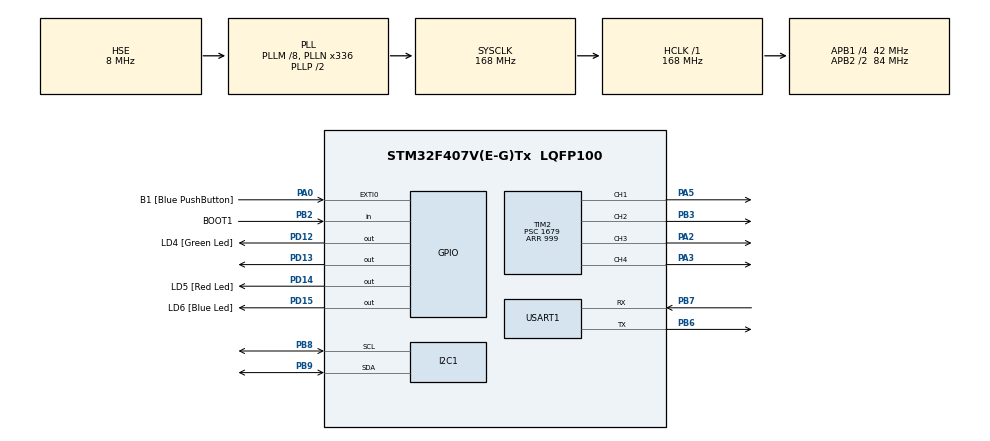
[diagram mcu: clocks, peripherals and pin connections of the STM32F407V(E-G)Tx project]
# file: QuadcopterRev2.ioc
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FREERTOS.Tasks01=mainController,32,128,mainControllerLoop,Default,NULL,Dynamic,NULL,NULL;telemetrySender,8,128,telemetrySenderTask,Default,NULL,Dynamic,NULL,NULL;bmp280Reader,24,128,bmp280ReaderTask,Default,NULL,Dynamic,NULL,NULL;mpu6050Reader,24,128,mpu6050ReaderTask,Default,NULL,Dynamic,NULL,NULL;hmc5883lReader,24,128,hmc5883lReaderTask,Default,NULL,Dynamic,NULL,NULL
FREERTOS.configENABLE_FPU=1
I2C1.I2C_Mode=I2C_Fast
Mcu.Family=STM32F4
Mcu.Name=STM32F407V(E-G)Tx
Mcu.Package=LQFP100
NVIC.I2C1_EV_IRQn=true\:5\:0\:false\:false\:true\:true\:true\:true
NVIC.PriorityGroup=NVIC_PRIORITYGROUP_4
NVIC.TIM1_UP_TIM10_IRQn=true\:0\:0\:false\:false\:true\:false\:false\:true
NVIC.TimeBase=TIM1_UP_TIM10_IRQn
NVIC.TimeBaseIP=TIM1
NVIC.USART1_IRQn=true\:5\:0\:false\:false\:true\:true\:true\:true
PA0-WKUP.GPIO_Label=B1 [Blue PushButton]
PA0-WKUP.GPIO_ModeDefaultEXTI=GPIO_MODE_EVT_RISING
PA0-WKUP.GPIO_PuPd=GPIO_NOPULL
PA0-WKUP.Signal=GPXTI0
PA13.GPIO_Label=SWDIO
PA13.Mode=Serial_Wire
PA13.Signal=SYS_JTMS-SWDIO
PA14.GPIO_Label=SWCLK
PA14.Mode=Serial_Wire
PA14.Signal=SYS_JTCK-SWCLK
PA2.GPIO_Speed=GPIO_SPEED_FREQ_VERY_HIGH
PA2.Signal=S_TIM2_CH3
PA3.GPIO_Speed=GPIO_SPEED_FREQ_VERY_HIGH
PA3.Signal=S_TIM2_CH4
PA5.GPIO_Speed=GPIO_SPEED_FREQ_VERY_HIGH
PA5.Signal=S_TIM2_CH1_ETR
PB2.GPIO_Label=BOOT1
PB2.GPIO_Mode=GPIO_MODE_INPUT
PB2.GPIO_PuPd=GPIO_NOPULL
PB2.Signal=GPIO_Input
PB3.GPIO_Speed=GPIO_SPEED_FREQ_VERY_HIGH
PB3.Signal=S_TIM2_CH2
PB6.Mode=Asynchronous
PB6.Signal=USART1_TX
PB7.Mode=Asynchronous
PB7.Signal=USART1_RX
PB8.GPIO_Pu=GPIO_PULLUP
PB8.Mode=I2C
PB8.Signal=I2C1_SCL
PB9.GPIO_Pu=GPIO_PULLUP
PB9.Mode=I2C
PB9.Signal=I2C1_SDA
PC14-OSC32_IN.GPIO_Label=PC14-OSC32_IN
PC14-OSC32_IN.Mode=LSE-External-Oscillator
PC14-OSC32_IN.Signal=RCC_OSC32_IN
PC15-OSC32_OUT.GPIO_Label=PC15-OSC32_OUT
PC15-OSC32_OUT.Mode=LSE-External-Oscillator
PC15-OSC32_OUT.Signal=RCC_OSC32_OUT
PD12.GPIO_Label=LD4 [Green Led]
PD12.GPIO_PuPd=GPIO_NOPULL
PD12.GPIO_Speed=GPIO_SPEED_FREQ_LOW
PD12.Signal=GPIO_Output
PD13.Signal=GPIO_Output
PD14.GPIO_Label=LD5 [Red Led]
PD14.GPIO_PuPd=GPIO_NOPULL
PD14.GPIO_Speed=GPIO_SPEED_FREQ_LOW
PD14.Signal=GPIO_Output
PD15.GPIO_Label=LD6 [Blue Led]
PD15.GPIO_PuPd=GPIO_NOPULL
PD15.GPIO_Speed=GPIO_SPEED_FREQ_LOW
PD15.Signal=GPIO_Output
PH0-OSC_IN.GPIO_Label=PH0-OSC_IN
PH0-OSC_IN.Mode=HSE-External-Oscillator
PH0-OSC_IN.Signal=RCC_OSC_IN
PH1-OSC_OUT.GPIO_Label=PH1-OSC_OUT
PH1-OSC_OUT.Mode=HSE-External-Oscillator
PH1-OSC_OUT.Signal=RCC_OSC_OUT
ProjectManager.HeapSize=0x200
ProjectManager.StackSize=0x400
ProjectManager.TargetToolchain=STM32CubeIDE
RCC.48MHZClocksFreq_Value=48000000
RCC.AHBFreq_Value=168000000
RCC.APB1CLKDivider=RCC_HCLK_DIV4
RCC.APB1Freq_Value=42000000
RCC.APB1TimFreq_Value=84000000
RCC.APB2CLKDivider=RCC_HCLK_DIV2
RCC.APB2Freq_Value=84000000
RCC.APB2TimFreq_Value=168000000
RCC.CortexFreq_Value=168000000
RCC.HCLKFreq_Value=168000000
RCC.HSE_VALUE=8000000
RCC.HSI_VALUE=16000000
RCC.PLLM=8
RCC.PLLN=336
RCC.PLLQ=7
RCC.PLLSourceVirtual=RCC_PLLSOURCE_HSE
RCC.SYSCLKFreq_VALUE=168000000
RCC.SYSCLKSource=RCC_SYSCLKSOURCE_PLLCLK
RCC.VCOOutputFreq_Value=336000000
SH.S_TIM2_CH1_ETR.0=TIM2_CH1,PWM Generation1 CH1
SH.S_TIM2_CH2.0=TIM2_CH2,PWM Generation2 CH2
SH.S_TIM2_CH3.0=TIM2_CH3,PWM Generation3 CH3
SH.S_TIM2_CH4.0=TIM2_CH4,PWM Generation4 CH4
TIM2.Channel-PWM\ Generation1\ CH1=TIM_CHANNEL_1
TIM2.Channel-PWM\ Generation2\ CH2=TIM_CHANNEL_2
TIM2.Channel-PWM\ Generation3\ CH3=TIM_CHANNEL_3
TIM2.Channel-PWM\ Generation4\ CH4=TIM_CHANNEL_4
TIM2.Period=999
TIM2.Prescaler=1679
USART1.VirtualMode=VM_ASYNC
VP_FREERTOS_VS_CMSIS_V2.Mode=CMSIS_V2
VP_SYS_VS_tim1.Mode=TIM1
VP_TIM2_VS_ClockSourceINT.Mode=Internal
board=STM32F407G-DISC1

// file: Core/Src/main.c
/* USER CODE BEGIN Header */
/**
  ******************************************************************************
  * @file           : main.c
  * @brief          : Main program body
  ******************************************************************************
  * @attention
  *
  * <h2><center>&copy; Copyright (c) 2021 STMicroelectronics.
  * All rights reserved.</center></h2>
  *
  * This software component is licensed by ST under Ultimate Liberty license
  * SLA0044, the "License"; You may not use this file except in compliance with
  * the License. You may obtain a copy of the License at:
  *                             www.st.com/SLA0044
  *
  ******************************************************************************
  */
/* USER CODE END Header */
#include "main.h"
#include "cmsis_os.h"
#include "i2c.h"
#include "tim.h"
#include "usart.h"
#include "gpio.h"

/* USER CODE BEGIN Includes */

#include "DataStructures.h"
#include "externalVariables.h"
#include "RCFilter.h"
#include "BMP280.h"

/* USER CODE END Includes */

/* USER CODE BEGIN PV */

uint8_t Rx_data[2] = {0,0}, Rx_Buffer[100], Transfer_cplt;

bmp280_calib_data bmp280CalibData;

RCFilter accLpf[3];
RCFilter gyrLpf[3];
RCFilter magLpf[3];
RCFilter barLpf;

/* USER CODE END PV */

void SystemClock_Config(void);
void MX_FREERTOS_Init(void);

/* USER CODE BEGIN 0 */
void HAL_UART_RxCpltCallback(UART_HandleTypeDef *huart)
{

	    if (huart->Instance == USART1)  //current UART
	    {

	    	 //SetPointVector  = 0;
	  /*  	 if (Rx_indx == 0)
	    	 {
	    		 for (int i = 0; i < 100; i++)
	    		 {Rx_Buffer[i] = 0;}
	    	 }   //clear Rx_Buffer before receiving new data

	    	        if (Rx_data[0] != 13) //if received data different from ascii 13 (enter)
	    	            {
	    	            Rx_Buffer[Rx_indx++] = Rx_data[0];    //add data to Rx_Buffer
	    	            }
	    	        else            //if received data = 13
	    	            {
	    	            Rx_indx = 0;
	    	            Transfer_cplt = 1;//transfer complete, data is ready to read
	    	            }
*/

	    HAL_UART_Receive_IT(&huart1, Rx_data, 1);
	    }
}
/* USER CODE END 0 */

int main(void)
{

  /* MCU Configuration--------------------------------------------------------*/

  /* Reset of all peripherals, Initializes the Flash interface and the Systick. */
  HAL_Init();

  /* Configure the system clock */
  SystemClock_Config();

  /* USER CODE BEGIN SysInit */
  HAL_I2C_MspInit(&hi2c1);
  HAL_UART_MspInit(&huart1);
  /* USER CODE END SysInit */

  /* Initialize all configured peripherals */
  MX_GPIO_Init();
  MX_I2C1_Init();
  MX_TIM2_Init();
  MX_USART1_UART_Init();
  /* USER CODE BEGIN 2 */

  //Initializing sensors and Wi-Fi module

  MPU6050_Init(&hi2c1);
  BMP280_Init(&hi2c1, &bmp280CalibData);
  HMC5883L_Init(&hi2c1);
  Esp8266_Init(&huart1);

  //Initializing low pass filters structures for sensors

  RCFilter_Init(&(accLpf[0]), 5.0f, 0.01f);
  RCFilter_Init(&(accLpf[1]), 5.0f, 0.01f);
  RCFilter_Init(&(accLpf[2]), 5.0f, 0.01f);

  RCFilter_Init(&(gyrLpf[0]), 5.0f, 0.01f);
  RCFilter_Init(&(gyrLpf[1]), 5.0f, 0.01f);
  RCFilter_Init(&(gyrLpf[2]), 5.0f, 0.01f);

  RCFilter_Init(&(magLpf[0]), 5.0f, 0.01f);
  RCFilter_Init(&(magLpf[1]), 5.0f, 0.01f);
  RCFilter_Init(&(magLpf[2]), 5.0f, 0.01f);

  RCFilter_Init(&barLpf, 5.0f, 0.02f);

  HAL_UART_Receive_IT(&huart1, Rx_data, 1);

  /* USER CODE END 2 */

  /* Init scheduler */
  osKernelInitialize();  /* Call init function for freertos objects (in freertos.c) */
  MX_FREERTOS_Init();
  /* Start scheduler */
  osKernelStart();

  /* We should never get here as control is now taken by the scheduler */
  /* Infinite loop */
  while (1)
  {

  }
}

void SystemClock_Config(void)
{
  RCC_OscInitTypeDef RCC_OscInitStruct = {0};
  RCC_ClkInitTypeDef RCC_ClkInitStruct = {0};

  /** Configure the main internal regulator output voltage
  */
  __HAL_RCC_PWR_CLK_ENABLE();
  __HAL_PWR_VOLTAGESCALING_CONFIG(PWR_REGULATOR_VOLTAGE_SCALE1);
  /** Initializes the RCC Oscillators according to the specified parameters
  * in the RCC_OscInitTypeDef structure.
  */
  RCC_OscInitStruct.OscillatorType = RCC_OSCILLATORTYPE_HSE;
  RCC_OscInitStruct.HSEState = RCC_HSE_ON;
  RCC_OscInitStruct.PLL.PLLState = RCC_PLL_ON;
  RCC_OscInitStruct.PLL.PLLSource = RCC_PLLSOURCE_HSE;
  RCC_OscInitStruct.PLL.PLLM = 8;
  RCC_OscInitStruct.PLL.PLLN = 336;
  RCC_OscInitStruct.PLL.PLLP = RCC_PLLP_DIV2;
  RCC_OscInitStruct.PLL.PLLQ = 7;
  if (HAL_RCC_OscConfig(&RCC_OscInitStruct) != HAL_OK)
  {
    Error_Handler();
  }
  /** Initializes the CPU, AHB and APB buses clocks
  */
  RCC_ClkInitStruct.ClockType = RCC_CLOCKTYPE_HCLK|RCC_CLOCKTYPE_SYSCLK
                              |RCC_CLOCKTYPE_PCLK1|RCC_CLOCKTYPE_PCLK2;
  RCC_ClkInitStruct.SYSCLKSource = RCC_SYSCLKSOURCE_PLLCLK;
  RCC_ClkInitStruct.AHBCLKDivider = RCC_SYSCLK_DIV1;
  RCC_ClkInitStruct.APB1CLKDivider = RCC_HCLK_DIV4;
  RCC_ClkInitStruct.APB2CLKDivider = RCC_HCLK_DIV2;

  if (HAL_RCC_ClockConfig(&RCC_ClkInitStruct, FLASH_LATENCY_5) != HAL_OK)
  {
    Error_Handler();
  }
}

void HAL_TIM_PeriodElapsedCallback(TIM_HandleTypeDef *htim)
{
  if (htim->Instance == TIM1) {
    HAL_IncTick();
  }
}

void Error_Handler(void)
{
  __disable_irq();
  while (1)
  {
  }
}

/************************ (C) COPYRIGHT STMicroelectronics *****END OF FILE****/

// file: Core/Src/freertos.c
/* USER CODE BEGIN Header */
/**
  ******************************************************************************
  * File Name          : freertos.c
  * Description        : Code for freertos applications
  ******************************************************************************
  * @attention
  *
  * <h2><center>&copy; Copyright (c) 2021 STMicroelectronics.
  * All rights reserved.</center></h2>
  *
  * This software component is licensed by ST under Ultimate Liberty license
  * SLA0044, the "License"; You may not use this file except in compliance with
  * the License. You may obtain a copy of the License at:
  *                             www.st.com/SLA0044
  *
  ******************************************************************************
  */
/* USER CODE END Header */

#include "FreeRTOS.h"
#include "task.h"
#include "main.h"
#include "cmsis_os.h"

/* USER CODE BEGIN Includes */
#include "MPU6050.h"
#include "BMP280.h"
#include "HMC5883L.h"
#include "ESP8266.h"
#include "OrientationFunctions.h"
#include "Pid.h"
#include "externalVariables.h"
/* USER CODE END Includes */

/* USER CODE BEGIN Variables */

osMutexId_t i2cHandle;

const osMutexAttr_t i2cThread_Mutex_attr = {
	 "i2cThreadMutex",
	  osMutexPrioInherit,
	  NULL,
	  0U
	};

volatile struct Data mpu6050Data;
volatile Vector3AxisF hmc5883lData;
volatile float bmp280Pressure = 0;

volatile struct Data mpu6050Data_filtered;
volatile Vector3AxisF hmc5883lData_filtered;
volatile float bmp280Pressure_filtered;

volatile float altitude = 0;
float heading = 0;
Vector3AxisF quadAngles = {0.0f, 0.0f, 0.0f};

/* USER CODE END Variables */
/* Definitions for mainController */
osThreadId_t mainControllerHandle;
const osThreadAttr_t mainController_attributes = {
  .name = "mainController",
  .stack_size = 128 * 4,
  .priority = (osPriority_t) osPriorityAboveNormal,
};
/* Definitions for telemetrySender */
osThreadId_t telemetrySenderHandle;
const osThreadAttr_t telemetrySender_attributes = {
  .name = "telemetrySender",
  .stack_size = 128 * 4,
  .priority = (osPriority_t) osPriorityLow,
};
/* Definitions for bmp280Reader */
osThreadId_t bmp280ReaderHandle;
const osThreadAttr_t bmp280Reader_attributes = {
  .name = "bmp280Reader",
  .stack_size = 128 * 4,
  .priority = (osPriority_t) osPriorityNormal,
};
/* Definitions for mpu6050Reader */
osThreadId_t mpu6050ReaderHandle;
const osThreadAttr_t mpu6050Reader_attributes = {
  .name = "mpu6050Reader",
  .stack_size = 128 * 4,
  .priority = (osPriority_t) osPriorityAboveNormal	,
};
/* Definitions for hmc5883lReader */
osThreadId_t hmc5883lReaderHandle;
const osThreadAttr_t hmc5883lReader_attributes = {
  .name = "hmc5883lReader",
  .stack_size = 128 * 4,
  .priority = (osPriority_t) osPriorityNormal,
};

void mainControllerLoop(void *argument);
void telemetrySenderTask(void *argument);
void bmp280ReaderTask(void *argument);
void mpu6050ReaderTask(void *argument);
void hmc5883lReaderTask(void *argument);

void MX_FREERTOS_Init(void); /* (MISRA C 2004 rule 8.1) */

void MX_FREERTOS_Init(void) {

  /* USER CODE BEGIN RTOS_MUTEX */
  /* add mutexes, ... */

	i2cHandle = osMutexNew(&i2cThread_Mutex_attr);

  /* USER CODE END RTOS_MUTEX */

  /* Create the thread(s) */
  /* creation of mainController */
  mainControllerHandle = osThreadNew(mainControllerLoop, NULL, &mainController_attributes);

  /* creation of telemetrySender */
  telemetrySenderHandle = osThreadNew(telemetrySenderTask, NULL, &telemetrySender_attributes);

  /* creation of bmp280Reader */
  bmp280ReaderHandle = osThreadNew(bmp280ReaderTask, NULL, &bmp280Reader_attributes);

  /* creation of mpu6050Reader */
  mpu6050ReaderHandle = osThreadNew(mpu6050ReaderTask, NULL, &mpu6050Reader_attributes);

  /* creation of hmc5883lReader */
  hmc5883lReaderHandle = osThreadNew(hmc5883lReaderTask, NULL, &hmc5883lReader_attributes);

}

void mainControllerLoop(void *argument)
{
  /* USER CODE BEGIN mainControllerLoop */
  /* Infinite loop */
  for(;;)
  {

    osDelay(1000);
  }
  /* USER CODE END mainControllerLoop */
}

void telemetrySenderTask(void *argument)
{
  /* USER CODE BEGIN telemetrySenderTask */
  /* Infinite loop */
  for(;;)
  {

	  //Esp8266_SendData(huart, message)

    osDelay(1000);
  }
  /* USER CODE END telemetrySenderTask */
}

void bmp280ReaderTask(void *argument)
{
  /* USER CODE BEGIN bmp280ReaderTask */
  /* Infinite loop */
  for(;;)
  {
	  if (osMutexAcquire(i2cHandle,0) == osOK)
	  {

		 bmp280Pressure = BMP280_readPressure(&hi2c1, &bmp280CalibData);

		 	 bmp280Pressure_filtered = RCFilter_Update(&barLpf, bmp280Pressure);
		 	 altitude = Calculate_Altitude(1013.25, bmp280Pressure_filtered);

		 HAL_GPIO_TogglePin(GPIOD,GPIO_PIN_14);	//RED

		 osMutexRelease(i2cHandle);
	  }

    osDelay(20);
  }
  /* USER CODE END bmp280ReaderTask */
}

void mpu6050ReaderTask(void *argument)
{
  /* USER CODE BEGIN mpu6050ReaderTask */
  /* Infinite loop */
  for(;;)
  {
	  if (osMutexAcquire(i2cHandle,0) == osOK)
	  {

		  mpu6050Data = MPU6050_Read_Data(&hi2c1);

		  	  mpu6050Data_filtered.accelX = RCFilter_Update(&(accLpf[0]), mpu6050Data.accelX);
		  	  mpu6050Data_filtered.accelY = RCFilter_Update(&(accLpf[1]), mpu6050Data.accelY);
		  	  mpu6050Data_filtered.accelZ = RCFilter_Update(&(accLpf[2]), mpu6050Data.accelZ);
		  	  mpu6050Data_filtered.rotX = RCFilter_Update(&(gyrLpf[0]), mpu6050Data.rotX);
		  	  mpu6050Data_filtered.rotY = RCFilter_Update(&(gyrLpf[1]), mpu6050Data.rotY);
		  	  mpu6050Data_filtered.rotZ = RCFilter_Update(&(gyrLpf[2]), mpu6050Data.rotZ);

		  	  Calc_Angle(&quadAngles, mpu6050Data_filtered, Calc_Accel_Angle(mpu6050Data_filtered),heading, 0.01);

		  HAL_GPIO_TogglePin(GPIOD,GPIO_PIN_13); //ORANGE

		  osMutexRelease(i2cHandle);
	  }

    osDelay(10);
  }
  /* USER CODE END mpu6050ReaderTask */
}

void hmc5883lReaderTask(void *argument)
{
  /* USER CODE BEGIN hmc5883lReaderTask */
  /* Infinite loop */
  for(;;)
  {
	  if (osMutexAcquire(i2cHandle,0) == osOK)
	  {

		  hmc5883lData = HMC5883L_Read_Data(&hi2c1);

		  	  hmc5883lData_filtered.x = RCFilter_Update(&(magLpf[0]), hmc5883lData.x);
		  	  hmc5883lData_filtered.y = RCFilter_Update(&(magLpf[1]), hmc5883lData.y);
		  	  hmc5883lData_filtered.z = RCFilter_Update(&(magLpf[2]), hmc5883lData.z);

		  	  heading = Calculate_Heading(hmc5883lData_filtered, quadAngles, MAGNETIC_DECLINATION);

		  	  HAL_GPIO_TogglePin(GPIOD,GPIO_PIN_15);	// BLUE

		  osMutexRelease(i2cHandle);
	  }

	  	  osDelay(10);
  }
  /* USER CODE END hmc5883lReaderTask */
}

/************************ (C) COPYRIGHT STMicroelectronics *****END OF FILE****/
